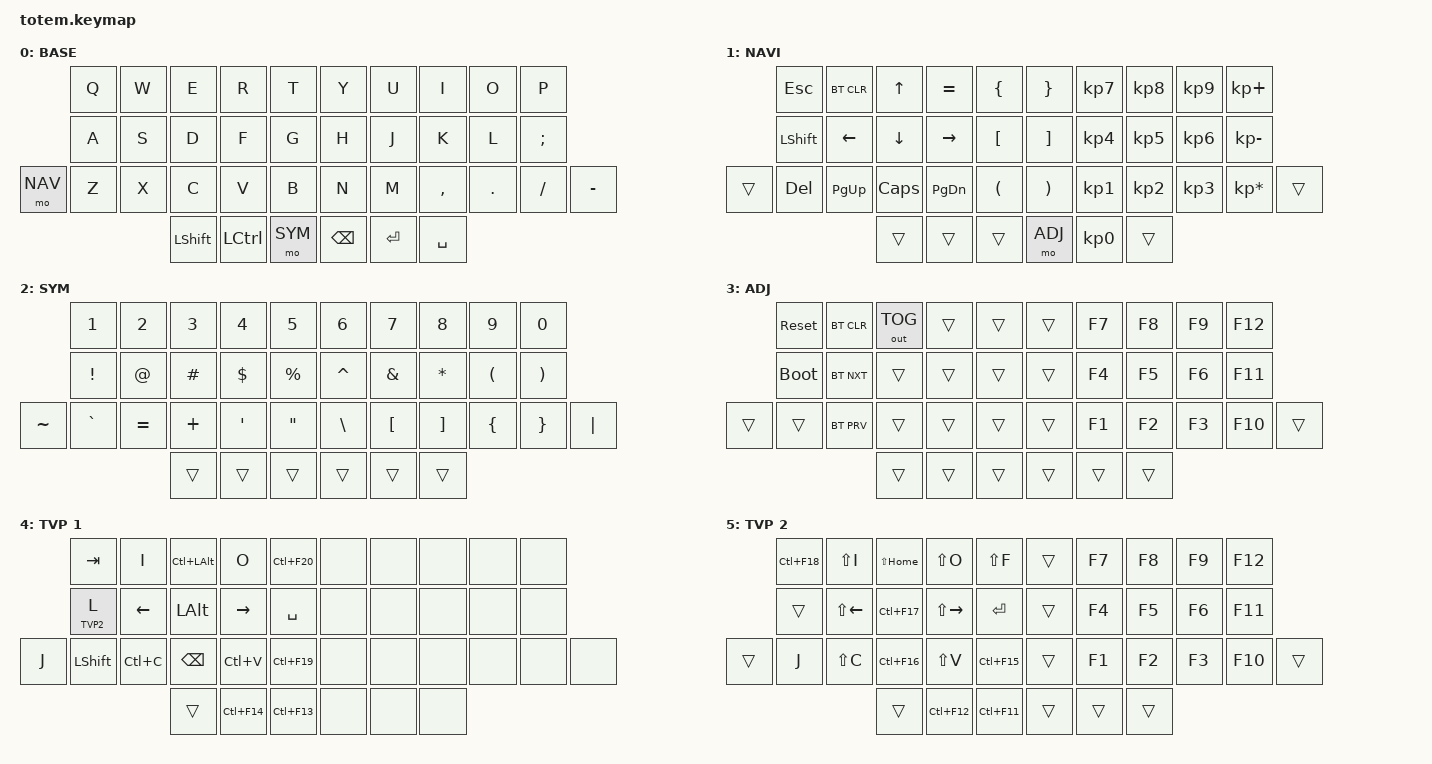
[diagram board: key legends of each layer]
//
//                                                        ▀▀▀▀▀     ▀▀▀▀▀          ▀▀█▀▀
//                                                        ▄▀▀▀▄  ▄  ▄▀▀▀▄  ▄  ▄▀▀▀▄  █  ▄▀▀▀▄
//                                                        █   █  █  █   █  █  █   █  █  █   █
//                                                         ▀▀▀   █   ▀▀▀   █   ▀▀▀   ▀   ▀▀▀
//                                                               █      ▄▄▄█▄▄▄    █   █  
//                                                               ▀      █  █  █     █▄█
//                                                             ▀▀▀▀▀    █  █  █      ▀
//                                                                      ▀  ▀  ▀
//
// ▄▄▄▄▄▄▄▄▄▄▄▄▄▄▄▄▄▄▄▄▄▄▄▄▄▄▄▄▄▄▄▄▄▄▄▄▄▄▄▄▄▄▄▄▄▄▄▄▄▄▄▄▄▄▄▄▄▄▄▄▄▄▄▄▄▄▄▄▄▄▄▄▄▄▄▄▄▄▄▄▄▄▄▄▄▄▄▄▄▄▄▄▄▄▄▄▄▄▄▄▄▄▄▄▄▄▄▄▄▄▄▄▄▄▄▄▄▄▄▄▄▄▄▄▄▄▄▄▄▄▄▄▄▄▄▄▄▄▄▄▄▄▄▄▄▄▄▄▄
       

#include <behaviors.dtsi>
#include <dt-bindings/zmk/keys.h>
#include <dt-bindings/zmk/bt.h>
#include <dt-bindings/zmk/outputs.h>

#define BASE 0
#define NAV  1
#define SYM  2
#define ADJ  3
#define TVP1 4
#define TVP2 5

&mt {
  quick-tap-ms = <100>;
  global-quick-tap;
  flavor = "tap-preferred";
  tapping-term-ms = <170>;
};

/ {
     combos {
            compatible = "zmk,combos";
            combo_esc {
                timeout-ms = <50>;
                key-positions = <35 36>;
                bindings = <&kp ESC>;
            };
            combo_tvp {
                timeout-ms = <100>;
                key-positions = <11 12 13>;
                bindings = <&tog TVP1>;
            };
    };

    macros {
        gif: gif {
            label = "giphy";
            compatible = "zmk,behavior-macro";
            #binding-cells = <0>;
            bindings
                = <&macro_press &kp LSHFT>
                , <&macro_tap &kp N2>
                , <&macro_release &kp LSHFT>
                , <&macro_tap &kp G &kp I &kp F>
                ;
        };
    };

        keymap {
                compatible = "zmk,keymap";
// ▄▄▄▄▄▄▄▄▄▄▄▄▄▄▄▄▄▄▄▄▄▄▄▄▄▄▄▄▄▄▄▄▄▄▄▄▄▄▄▄▄▄▄▄▄▄▄▄▄▄▄▄▄▄▄▄▄▄▄▄▄▄▄▄▄▄▄▄▄▄▄▄▄▄▄▄▄▄▄▄▄▄▄▄▄▄▄▄▄▄▄▄▄▄▄▄▄▄▄▄▄▄▄▄▄▄▄▄▄▄▄▄▄▄▄▄▄▄▄▄▄▄▄▄▄▄▄▄▄▄▄▄▄▄▄▄▄▄▄▄▄▄▄▄▄▄▄▄▄

                base_layer {
// ┏━━━━━━━━━━━━━━━━━━━━━━━━━━━━━━━━━━━━━━━┓
label= "BASE"                              ;
// ┗━━━━━━━━━━━━━━━━━━━━━━━━━━━━━━━━━━━━━━━┛
//             ┏━━━━━━━━━━━┳━━━━━━━━━━━┳━━━━━━━━━━━┳━━━━━━━━━━━┳━━━━━━━━━━━┓   ┏━━━━━━━━━━━┳━━━━━━━━━━━┳━━━━━━━━━━━┳━━━━━━━━━━━┳━━━━━━━━━━━┓
//             ┃     Q     ┃     W     ┃     E     ┃     R     ┃     T     ┃   ┃     Y     ┃     U     ┃     I     ┃     O     ┃     P     ┃
//             ┣━━━━━━━━━━━╋━━━━━━━━━━━╋━━━━━━━━━━━╋━━━━━━━━━━━╋━━━━━━━━━━━┫   ┣━━━━━━━━━━━╋━━━━━━━━━━━╋━━━━━━━━━━━╋━━━━━━━━━━━╋━━━━━━━━━━━┫
//             ┃     A     ┃     S     ┃     D     ┃     F     ┃     G     ┃   ┃     H     ┃     J     ┃     K     ┃     L     ┃     ;     ┃
// ┏━━━━━━━━━━━╋━━━━━━━━━━━╋━━━━━━━━━━━╋━━━━━━━━━━━╋━━━━━━━━━━━╋━━━━━━━━━━━┫   ┣━━━━━━━━━━━╋━━━━━━━━━━━╋━━━━━━━━━━━╋━━━━━━━━━━━╋━━━━━━━━━━━╋━━━━━━━━━━━┓
// ┃     NAV   ┃     Z     ┃     X     ┃     C     ┃     V     ┃     B     ┃   ┃     N     ┃     M     ┃     ,     ┃     .     ┃     /     ┃     \     ┃
// ┗━━━━━━━━━━━┻━━━━━━━━━━━┻━━━━━━━━━━━╋━━━━━━━━━━━╋━━━━━━━━━━━╋━━━━━━━━━━━┫   ┣━━━━━━━━━━━╋━━━━━━━━━━━╋━━━━━━━━━━━╋━━━━━━━━━━━┻━━━━━━━━━━━┻━━━━━━━━━━━┛
//                                     ┃    DEL    ┃    TAB    ┃    SPC    ┃   ┃   BSPC    ┃  ENTER    ┃    SPC    ┃
//                                     ┗━━━━━━━━━━━┻━━━━━━━━━━━┻━━━━━━━━━━━┛   ┗━━━━━━━━━━━┻━━━━━━━━━━━┻━━━━━━━━━━━┛
 bindings = <
// ╷           ╷           ╷           ╷           ╷           ╷           ╷   ╷           ╷           ╷           ╷           ╷           ╷           ╷

                &kp Q       &kp W       &kp E       &kp R       &kp T           &kp Y       &kp U       &kp I       &kp O       &kp P 
                &kp A       &kp S       &kp D       &kp F       &kp G           &kp H       &kp J       &kp K       &kp L       &kp SEMI
    &mo NAV     &kp Z       &kp X       &kp C       &kp V       &kp B           &kp N       &kp M       &kp COMMA   &kp DOT     &kp FSLH    &kp MINUS
                                        &kp LSHFT   &kp LCTRL   &mo SYM         &kp BSPC    &kp ENTER   &kp SPACE
                        >;
                };

// ▄▄▄▄▄▄▄▄▄▄▄▄▄▄▄▄▄▄▄▄▄▄▄▄▄▄▄▄▄▄▄▄▄▄▄▄▄▄▄▄▄▄▄▄▄▄▄▄▄▄▄▄▄▄▄▄▄▄▄▄▄▄▄▄▄▄▄▄▄▄▄▄▄▄▄▄▄▄▄▄▄▄▄▄▄▄▄▄▄▄▄▄▄▄▄▄▄▄▄▄▄▄▄▄▄▄▄▄▄▄▄▄▄▄▄▄▄▄▄▄▄▄▄▄▄▄▄▄▄▄▄▄▄▄▄▄▄▄▄▄▄▄▄▄▄▄▄▄▄


                nav_layer {
// ┏━━━━━━━━━━━━━━━━━━━━━━━━━━━━━━━━━━━━━━━┓
label= "NAVI"                              ;
// ┗━━━━━━━━━━━━━━━━━━━━━━━━━━━━━━━━━━━━━━━┛
//             ┏━━━━━━━━━━━┳━━━━━━━━━━━┳━━━━━━━━━━━┳━━━━━━━━━━━┳━━━━━━━━━━━┓   ┏━━━━━━━━━━━┳━━━━━━━━━━━┳━━━━━━━━━━━┳━━━━━━━━━━━┳━━━━━━━━━━━┓
//             ┃           ┃           ┃     UP    ┃           ┃     {     ┃   ┃     }     ┃     7     ┃     8     ┃     9     ┃     +     ┃
//             ┣━━━━━━━━━━━╋━━━━━━━━━━━╋━━━━━━━━━━━╋━━━━━━━━━━━╋━━━━━━━━━━━┫   ┣━━━━━━━━━━━╋━━━━━━━━━━━╋━━━━━━━━━━━╋━━━━━━━━━━━╋━━━━━━━━━━━┫
//             ┃   SHIFT   ┃   LEFT    ┃    DOWN   ┃   RIGHT   ┃     [     ┃   ┃     ]     ┃     4     ┃     5     ┃     6     ┃     -     ┃
// ┏━━━━━━━━━━━╋━━━━━━━━━━━╋━━━━━━━━━━━╋━━━━━━━━━━━╋━━━━━━━━━━━╋━━━━━━━━━━━┫   ┣━━━━━━━━━━━╋━━━━━━━━━━━╋━━━━━━━━━━━╋━━━━━━━━━━━╋━━━━━━━━━━━╋━━━━━━━━━━━┓
// ┃           ┃           ┃   P UP    ┃  C LOCK   ┃  P DOWN   ┃     (     ┃   ┃     )     ┃     1     ┃     2     ┃     3     ┃     *     ┃           ┃
// ┗━━━━━━━━━━━┻━━━━━━━━━━━┻━━━━━━━━━━━╋━━━━━━━━━━━╋━━━━━━━━━━━╋━━━━━━━━━━━┫   ┣━━━━━━━━━━━╋━━━━━━━━━━━╋━━━━━━━━━━━╋━━━━━━━━━━━┻━━━━━━━━━━━┻━━━━━━━━━━━┛
//                                     ┃           ┃    TAB    ┃    SPC    ┃   ┃    DEL    ┃     0     ┃           ┃
//                                     ┗━━━━━━━━━━━┻━━━━━━━━━━━┻━━━━━━━━━━━┛   ┗━━━━━━━━━━━┻━━━━━━━━━━━┻━━━━━━━━━━━┛
 bindings = <
// ╷           ╷           ╷           ╷           ╷           ╷           ╷   ╷           ╷           ╷           ╷           ╷           ╷           ╷

                &kp ESC     &bt BT_CLR  &kp UP      &kp EQUAL   &kp LBRC        &kp RBRC    &kp KP_N7   &kp KP_N8   &kp KP_N9   &kp KP_PLUS
                &kp LSHFT   &kp LEFT    &kp DOWN    &kp RIGHT   &kp LBKT        &kp RBKT    &kp KP_N4   &kp KP_N5   &kp KP_N6   &kp KP_MINUS
    &trans      &kp DEL     &kp PG_UP   &kp CAPS    &kp PG_DN   &kp LPAR        &kp RPAR    &kp KP_N1   &kp KP_N2   &kp KP_N3   &kp KP_MULTIPLY &trans      
                                        &trans      &trans      &trans          &mo ADJ     &kp KP_N0   &trans      
                        >;
                };

// ▄▄▄▄▄▄▄▄▄▄▄▄▄▄▄▄▄▄▄▄▄▄▄▄▄▄▄▄▄▄▄▄▄▄▄▄▄▄▄▄▄▄▄▄▄▄▄▄▄▄▄▄▄▄▄▄▄▄▄▄▄▄▄▄▄▄▄▄▄▄▄▄▄▄▄▄▄▄▄▄▄▄▄▄▄▄▄▄▄▄▄▄▄▄▄▄▄▄▄▄▄▄▄▄▄▄▄▄▄▄▄▄▄▄▄▄▄▄▄▄▄▄▄▄▄▄▄▄▄▄▄▄▄▄▄▄▄▄▄▄▄▄▄▄▄▄▄▄▄


                sim_layer {
// ┏━━━━━━━━━━━━━━━━━━━━━━━━━━━━━━━━━━━━━━━┓
label= "SYM"                               ;
// ┗━━━━━━━━━━━━━━━━━━━━━━━━━━━━━━━━━━━━━━━┛
//             ┏━━━━━━━━━━━┳━━━━━━━━━━━┳━━━━━━━━━━━┳━━━━━━━━━━━┳━━━━━━━━━━━┓   ┏━━━━━━━━━━━┳━━━━━━━━━━━┳━━━━━━━━━━━┳━━━━━━━━━━━┳━━━━━━━━━━━┓
//             ┃     1     ┃     2     ┃     3     ┃     4     ┃     5     ┃   ┃     6     ┃     7     ┃     8     ┃     9     ┃     0     ┃
//             ┣━━━━━━━━━━━╋━━━━━━━━━━━╋━━━━━━━━━━━╋━━━━━━━━━━━╋━━━━━━━━━━━┫   ┣━━━━━━━━━━━╋━━━━━━━━━━━╋━━━━━━━━━━━╋━━━━━━━━━━━╋━━━━━━━━━━━┫
//             ┃     !     ┃     @     ┃     #     ┃     $     ┃     %     ┃   ┃     ˆ     ┃     &     ┃     *     ┃     (     ┃     )     ┃
// ┏━━━━━━━━━━━╋━━━━━━━━━━━╋━━━━━━━━━━━╋━━━━━━━━━━━╋━━━━━━━━━━━╋━━━━━━━━━━━┫   ┣━━━━━━━━━━━╋━━━━━━━━━━━╋━━━━━━━━━━━╋━━━━━━━━━━━╋━━━━━━━━━━━╋━━━━━━━━━━━┓
// ┃           ┃  EMAIL1   ┃  EMAIL2   ┃           ┃           ┃           ┃   ┃   VOL-    ┃   VOL+    ┃   LAST    ┃   NEXT    ┃     \     ┃           ┃
// ┗━━━━━━━━━━━┻━━━━━━━━━━━┻━━━━━━━━━━━╋━━━━━━━━━━━╋━━━━━━━━━━━╋━━━━━━━━━━━┫   ┣━━━━━━━━━━━╋━━━━━━━━━━━╋━━━━━━━━━━━╋━━━━━━━━━━━┻━━━━━━━━━━━┻━━━━━━━━━━━┛
//                                     ┃           ┃    GIF    ┃    ADJ    ┃   ┃           ┃           ┃           ┃
//                                     ┗━━━━━━━━━━━┻━━━━━━━━━━━┻━━━━━━━━━━━┛   ┗━━━━━━━━━━━┻━━━━━━━━━━━┻━━━━━━━━━━━┛
 bindings = <
// ╷           ╷           ╷           ╷           ╷           ╷           ╷   ╷           ╷           ╷           ╷           ╷           ╷           ╷

                &kp N1      &kp N2      &kp N3      &kp N4      &kp N5          &kp N6      &kp N7      &kp N8      &kp N9      &kp N0
                &kp EXCL    &kp AT      &kp HASH    &kp DLLR    &kp PRCNT       &kp CARET   &kp AMPS    &kp STAR    &kp LPAR    &kp RPAR      
    &kp TILDE   &kp GRAVE   &kp EQUAL   &kp PLUS    &kp SQT     &kp DQT         &kp BSLH    &kp LBKT    &kp RBKT    &kp LBRC    &kp RBRC    &kp PIPE
                                        &trans      &trans      &trans          &trans      &trans      &trans
                        >;
                };

// ▄▄▄▄▄▄▄▄▄▄▄▄▄▄▄▄▄▄▄▄▄▄▄▄▄▄▄▄▄▄▄▄▄▄▄▄▄▄▄▄▄▄▄▄▄▄▄▄▄▄▄▄▄▄▄▄▄▄▄▄▄▄▄▄▄▄▄▄▄▄▄▄▄▄▄▄▄▄▄▄▄▄▄▄▄▄▄▄▄▄▄▄▄▄▄▄▄▄▄▄▄▄▄▄▄▄▄▄▄▄▄▄▄▄▄▄▄▄▄▄▄▄▄▄▄▄▄▄▄▄▄▄▄▄▄▄▄▄▄▄▄▄▄▄▄▄▄▄▄


                adjust_layer {
// ┏━━━━━━━━━━━━━━━━━━━━━━━━━━━━━━━━━━━━━━━┓
label= "ADJ"                               ;
// ┗━━━━━━━━━━━━━━━━━━━━━━━━━━━━━━━━━━━━━━━┛
//             ┏━━━━━━━━━━━┳━━━━━━━━━━━┳━━━━━━━━━━━┳━━━━━━━━━━━┳━━━━━━━━━━━┓   ┏━━━━━━━━━━━┳━━━━━━━━━━━┳━━━━━━━━━━━┳━━━━━━━━━━━┳━━━━━━━━━━━┓
//             ┃   RESET   ┃ BT CLEAR  ┃  OUT TOG  ┃           ┃           ┃   ┃           ┃    F7     ┃    F8     ┃    F9     ┃    F12    ┃
//             ┣━━━━━━━━━━━╋━━━━━━━━━━━╋━━━━━━━━━━━╋━━━━━━━━━━━╋━━━━━━━━━━━┫   ┣━━━━━━━━━━━╋━━━━━━━━━━━╋━━━━━━━━━━━╋━━━━━━━━━━━╋━━━━━━━━━━━┫
//             ┃ BOOTLOAD  ┃ BT NEXT   ┃           ┃           ┃           ┃   ┃           ┃    F4     ┃    F5     ┃    F6     ┃    F11    ┃
// ┏━━━━━━━━━━━╋━━━━━━━━━━━╋━━━━━━━━━━━╋━━━━━━━━━━━╋━━━━━━━━━━━╋━━━━━━━━━━━┫   ┣━━━━━━━━━━━╋━━━━━━━━━━━╋━━━━━━━━━━━╋━━━━━━━━━━━╋━━━━━━━━━━━╋━━━━━━━━━━━┓
// ┃           ┃           ┃ BT PREV   ┃           ┃           ┃           ┃   ┃           ┃    F1     ┃    F2     ┃    F3     ┃    F10    ┃           ┃
// ┗━━━━━━━━━━━┻━━━━━━━━━━━┻━━━━━━━━━━━╋━━━━━━━━━━━╋━━━━━━━━━━━╋━━━━━━━━━━━┫   ┣━━━━━━━━━━━╋━━━━━━━━━━━╋━━━━━━━━━━━╋━━━━━━━━━━━┻━━━━━━━━━━━┻━━━━━━━━━━━┛
//                                     ┃           ┃           ┃           ┃   ┃           ┃           ┃           ┃
//                                     ┗━━━━━━━━━━━┻━━━━━━━━━━━┻━━━━━━━━━━━┛   ┗━━━━━━━━━━━┻━━━━━━━━━━━┻━━━━━━━━━━━┛
 bindings = <
// ╷           ╷           ╷           ╷           ╷           ╷           ╷   ╷           ╷           ╷           ╷           ╷           ╷           ╷

                &sys_reset  &bt BT_CLR &out OUT_TOG &trans      &trans          &trans      &kp F7      &kp F8      &kp F9      &kp F12
                &bootloader &bt BT_NXT  &trans      &trans      &trans          &trans      &kp F4      &kp F5      &kp F6      &kp F11  
    &trans      &trans      &bt BT_PRV  &trans      &trans      &trans          &trans      &kp F1      &kp F2      &kp F3      &kp F10     &trans         
                                        &trans      &trans      &trans          &trans      &trans      &trans      
                        >;
                };

// ▄▄▄▄▄▄▄▄▄▄▄▄▄▄▄▄▄▄▄▄▄▄▄▄▄▄▄▄▄▄▄▄▄▄▄▄▄▄▄▄▄▄▄▄▄▄▄▄▄▄▄▄▄▄▄▄▄▄▄▄▄▄▄▄▄▄▄▄▄▄▄▄▄▄▄▄▄▄▄▄▄▄▄▄▄▄▄▄▄▄▄▄▄▄▄▄▄▄▄▄▄▄▄▄▄▄▄▄▄▄▄▄▄▄▄▄▄▄▄▄▄▄▄▄▄▄▄▄▄▄▄▄▄▄▄▄▄▄▄▄▄▄▄▄▄▄▄▄▄


                tvp1_layer {
// ┏━━━━━━━━━━━━━━━━━━━━━━━━━━━━━━━━━━━━━━━┓
label= "TVP 1"                             ;
// ┗━━━━━━━━━━━━━━━━━━━━━━━━━━━━━━━━━━━━━━━┛
//             ┏━━━━━━━━━━━┳━━━━━━━━━━━┳━━━━━━━━━━━┳━━━━━━━━━━━┳━━━━━━━━━━━┓   ┏━━━━━━━━━━━┳━━━━━━━━━━━┳━━━━━━━━━━━┳━━━━━━━━━━━┳━━━━━━━━━━━┓
//             ┃ NEXT FILE ┃ MARK IN   ┃ ROTATE    ┃ MARK OUT  ┃ SHOW SNAP ┃   ┃           ┃           ┃           ┃           ┃           ┃
//             ┣━━━━━━━━━━━╋━━━━━━━━━━━╋━━━━━━━━━━━╋━━━━━━━━━━━╋━━━━━━━━━━━┫   ┣━━━━━━━━━━━╋━━━━━━━━━━━╋━━━━━━━━━━━╋━━━━━━━━━━━╋━━━━━━━━━━━┫
//             ┃ TVP II    ┃ LEFT      ┃ PAN       ┃ RIGHT     ┃ PLAY/FLIP ┃   ┃           ┃           ┃           ┃           ┃           ┃
// ┏━━━━━━━━━━━╋━━━━━━━━━━━╋━━━━━━━━━━━╋━━━━━━━━━━━╋━━━━━━━━━━━╋━━━━━━━━━━━┫   ┣━━━━━━━━━━━╋━━━━━━━━━━━╋━━━━━━━━━━━╋━━━━━━━━━━━╋━━━━━━━━━━━╋━━━━━━━━━━━┓
// ┃ FULLSCR   ┃ SHIFT     ┃ COPY      ┃ DELETE    ┃ PASTE     ┃ IMG MARK  ┃   ┃           ┃           ┃           ┃           ┃           ┃           ┃
// ┗━━━━━━━━━━━┻━━━━━━━━━━━┻━━━━━━━━━━━╋━━━━━━━━━━━╋━━━━━━━━━━━╋━━━━━━━━━━━┫   ┣━━━━━━━━━━━╋━━━━━━━━━━━╋━━━━━━━━━━━╋━━━━━━━━━━━┻━━━━━━━━━━━┻━━━━━━━━━━━┛
//                                     ┃           ┃ UNDO/SAVE ┃  SEL/MOV  ┃   ┃           ┃           ┃           ┃
//                                     ┗━━━━━━━━━━━┻━━━━━━━━━━━┻━━━━━━━━━━━┛   ┗━━━━━━━━━━━┻━━━━━━━━━━━┻━━━━━━━━━━━┛
 bindings = <
// ╷           ╷           ╷           ╷           ╷           ╷           ╷   ╷           ╷           ╷           ╷           ╷           ╷           ╷

                &kp TAB     &kp I       &kp LC(LALT) &kp O      &kp LC(F20)     &none       &none       &none       &none       &none
                &lt TVP2 L  &kp LEFT    &kp LALT    &kp RIGHT   &kp SPACE       &none       &none       &none       &none       &none
    &kp J       &kp LSHFT   &kp LC(C)   &kp BSPC    &kp LC(V)   &kp LC(F19)     &none       &none       &none       &none       &none       &none        
                                        &trans      &kp LC(F14) &kp LC(F13)     &none       &none       &none    
                        >;
                };

// ▄▄▄▄▄▄▄▄▄▄▄▄▄▄▄▄▄▄▄▄▄▄▄▄▄▄▄▄▄▄▄▄▄▄▄▄▄▄▄▄▄▄▄▄▄▄▄▄▄▄▄▄▄▄▄▄▄▄▄▄▄▄▄▄▄▄▄▄▄▄▄▄▄▄▄▄▄▄▄▄▄▄▄▄▄▄▄▄▄▄▄▄▄▄▄▄▄▄▄▄▄▄▄▄▄▄▄▄▄▄▄▄▄▄▄▄▄▄▄▄▄▄▄▄▄▄▄▄▄▄▄▄▄▄▄▄▄▄▄▄▄▄▄▄▄▄▄▄▄


                tvp2_layer {
// ┏━━━━━━━━━━━━━━━━━━━━━━━━━━━━━━━━━━━━━━━┓
label= "TVP 2"                             ;
// ┗━━━━━━━━━━━━━━━━━━━━━━━━━━━━━━━━━━━━━━━┛
//             ┏━━━━━━━━━━━┳━━━━━━━━━━━┳━━━━━━━━━━━┳━━━━━━━━━━━┳━━━━━━━━━━━┓   ┏━━━━━━━━━━━┳━━━━━━━━━━━┳━━━━━━━━━━━┳━━━━━━━━━━━┳━━━━━━━━━━━┓
//             ┃ SOLO      ┃ TOGGLE IN ┃ RESET ROT ┃ TOGGLE OUT┃ TAKE SNAP ┃   ┃           ┃           ┃           ┃           ┃           ┃
//             ┣━━━━━━━━━━━╋━━━━━━━━━━━╋━━━━━━━━━━━╋━━━━━━━━━━━╋━━━━━━━━━━━┫   ┣━━━━━━━━━━━╋━━━━━━━━━━━╋━━━━━━━━━━━╋━━━━━━━━━━━╋━━━━━━━━━━━┫
//             ┃ ---       ┃ LAST KEY  ┃ NEW KEY   ┃ NEXT KEY  ┃ ENTER     ┃   ┃           ┃           ┃           ┃           ┃           ┃
// ┏━━━━━━━━━━━╋━━━━━━━━━━━╋━━━━━━━━━━━╋━━━━━━━━━━━╋━━━━━━━━━━━╋━━━━━━━━━━━┫   ┣━━━━━━━━━━━╋━━━━━━━━━━━╋━━━━━━━━━━━╋━━━━━━━━━━━╋━━━━━━━━━━━╋━━━━━━━━━━━┓
// ┃           ┃ FULLSCR   ┃ CPY2BRUSH ┃ DEL HEAD  ┃ PSTinPLACE┃ BOOK MARK ┃   ┃           ┃           ┃           ┃           ┃           ┃           ┃
// ┗━━━━━━━━━━━┻━━━━━━━━━━━┻━━━━━━━━━━━╋━━━━━━━━━━━╋━━━━━━━━━━━╋━━━━━━━━━━━┫   ┣━━━━━━━━━━━╋━━━━━━━━━━━╋━━━━━━━━━━━╋━━━━━━━━━━━┻━━━━━━━━━━━┻━━━━━━━━━━━┛
//                                     ┃           ┃ REDO/SAV1 ┃TRANS/WARP ┃   ┃           ┃           ┃           ┃
//                                     ┗━━━━━━━━━━━┻━━━━━━━━━━━┻━━━━━━━━━━━┛   ┗━━━━━━━━━━━┻━━━━━━━━━━━┻━━━━━━━━━━━┛
 bindings = <
// ╷           ╷           ╷           ╷           ╷           ╷           ╷   ╷           ╷           ╷           ╷           ╷           ╷           ╷

                &kp LC(F18) &kp LS(I)  &kp LS(HOME) &kp LS(O)   &kp LS(F)       &trans      &kp F7      &kp F8      &kp F9      &kp F12
                &trans      &kp LS(LEFT) &kp LC(F17) &kp LS(RIGHT) &kp RET      &trans      &kp F4      &kp F5      &kp F6      &kp F11  
    &trans      &kp J       &kp LS(C)   &kp LC(F16) &kp LS(V)   &kp LC(F15)     &trans      &kp F1      &kp F2      &kp F3      &kp F10     &trans         
                                        &trans      &kp LC(F12) &kp LC(F11)     &trans      &trans      &trans      
                        >;
                };
        };
};
